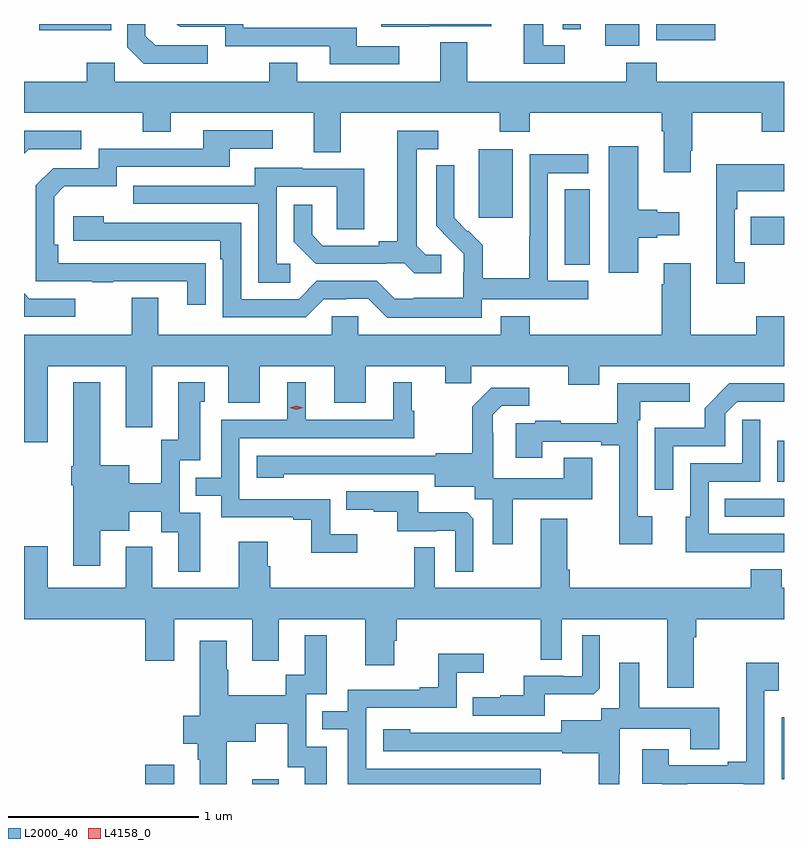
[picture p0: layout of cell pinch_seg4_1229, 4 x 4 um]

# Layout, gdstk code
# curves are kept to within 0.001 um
import gdstk
lib = gdstk.Library(unit=1e-6, precision=1e-09)
def R(c, l, rs):  # rectangles x0, y0, x1, y1
    for r in rs: c.add(gdstk.rectangle(r[:2], r[2:], *l))
def P(c, l, *ps):  # polygons
    for p in ps: c.add(gdstk.Polygon(p, *l))
L2000_40 = (2000, 40)
L4158_0 = (4158, 0)

pinch_seg4_1229 = lib.new_cell('pinch_seg4_1229')
R(pinch_seg4_1229, L2000_40, [(143.387,818.596,143.539,818.698), (143.951,818.596,144.091,818.62), (146.736,818.621,146.749,818.947), (146.437,820.002,146.749,820.098), (146.714,820.187,146.749,820.402), (145.595,821.329,145.726,821.726), (146.575,821.434,146.749,821.581), (145.142,821.577,145.321,821.938), (145.808,822.482,145.987,822.596), (146.076,822.511,146.386,822.596), (142.83,822.563,143.207,822.596), (145.584,822.568,145.68,822.596)])
P(pinch_seg4_1229, L2000_40, [(144.883,822.585),(145.207,822.585),(145.207,822.596),(144.629,822.596),(144.629,822.581),(144.883,822.581)],
  [(144.724,822.48),(144.499,822.48),(144.499,822.576),(143.904,822.576),(143.904,822.596),(143.554,822.596),(143.568,822.582),(143.808,822.582),(143.808,822.48),(144.359,822.48),(144.359,822.384),(144.724,822.384)],
  [(145.594,822.483),(145.483,822.483),(145.483,822.596),(145.379,822.596),(145.379,822.387),(145.594,822.387)],
  [(143.716,822.483),(143.439,822.483),(143.388,822.534),(143.388,822.596),(143.292,822.596),(143.292,822.474),(143.379,822.387),(143.716,822.387)],
  [(146.257,821.929),(146.265,821.929),(146.265,822.128),(146.632,822.128),(146.632,822.029),(146.749,822.029),(146.749,822.292),(146.078,822.292),(146.078,822.391),(145.918,822.391),(145.918,822.292),(145.081,822.292),(145.081,822.5),(144.941,822.5),(144.941,822.292),(144.187,822.292),(144.187,822.391),(144.04,822.391),(144.04,822.292),(143.226,822.292),(143.226,822.391),(143.08,822.391),(143.08,822.292),(142.749,822.292),(142.749,822.128),(143.374,822.128),(143.374,822.029),(143.521,822.029),(143.521,822.128),(144.275,822.128),(144.275,821.92),(144.415,821.92),(144.415,822.128),(145.252,822.128),(145.252,822.029),(145.412,822.029),(145.412,822.128),(146.105,822.128),(146.105,822.032),(146.117,822.032),(146.117,821.817),(146.257,821.817)],
  [(143.705,821.336),(142.928,821.337),(142.928,821.434),(142.908,821.434),(142.908,821.688),(142.961,821.741),(143.238,821.741),(143.238,821.844),(143.833,821.844),(143.833,821.94),(144.058,821.94),(144.058,822.036),(143.693,822.036),(143.693,821.94),(143.142,821.94),(143.142,821.838),(142.902,821.838),(142.812,821.748),(142.812,821.241),(143.107,821.241),(143.107,821.236),(143.219,821.236),(143.219,821.241),(143.609,821.241),(143.609,821.118),(143.705,821.118)],
  [(142.773,821.937),(143.05,821.937),(143.05,822.033),(142.749,822.033),(142.749,821.913)],
  [(144.946,821.382),(144.864,821.382),(144.817,821.429),(144.817,821.937),(144.928,821.937),(144.928,822.033),(144.713,822.033),(144.713,821.453),(144.617,821.453),(144.617,821.43),(144.322,821.43),(144.265,821.487),(144.265,821.644),(144.168,821.644),(144.168,821.45),(144.284,821.334),(144.656,821.334),(144.656,821.337),(144.75,821.337),(144.802,821.285),(144.946,821.285)],
  [(145.981,821.471),(146.081,821.471),(146.081,821.483),(146.197,821.483),(146.197,821.605),(146.081,821.605),(146.081,821.618),(145.981,821.618),(145.981,821.953),(145.826,821.953),(145.826,821.286),(145.981,821.286)],
  [(145.158,821.148),(145.72,821.148),(145.72,821.244),(145.506,821.244),(145.506,821.811),(145.72,821.811),(145.72,821.91),(145.41,821.91),(145.41,821.48),(145.408,821.48),(145.408,821.257),(145.163,821.257),(145.163,821.431),(145.086,821.508),(145.083,821.505),(145.013,821.576),(145.014,821.852),(144.918,821.852),(144.918,821.534),(145.064,821.386),(145.064,821.289),(145.062,821.289),(145.062,821.155),(144.799,821.155),(144.799,821.151),(144.699,821.151),(144.606,821.244),(144.291,821.244),(144.195,821.148),(143.892,821.148),(143.892,821.55),(143.168,821.55),(143.168,821.584),(143.007,821.584),(143.007,821.454),(143.783,821.454),(143.783,821.357),(143.796,821.357),(143.796,821.052),(144.231,821.052),(144.327,821.148),(144.446,821.148),(144.446,821.151),(144.561,821.151),(144.661,821.051),(145.158,821.051)],
  [(146.542,821.342),(146.49,821.342),(146.49,821.621),(146.503,821.621),(146.503,821.717),(146.749,821.717),(146.749,821.857),(146.393,821.857),(146.393,821.229),(146.542,821.229)],
  [(144.151,821.334),(144.078,821.334),(144.078,821.739),(144.396,821.739),(144.396,821.515),(144.541,821.515),(144.541,821.835),(144.217,821.835),(144.217,821.839),(143.963,821.839),(143.963,821.745),(143.323,821.745),(143.323,821.649),(143.982,821.649),(143.982,821.233),(144.151,821.233)],
  [(145.613,820.697),(145.777,820.697),(145.777,820.796),(146.749,820.796),(146.749,821.059),(146.602,821.059),(146.602,820.96),(146.257,820.96),(146.257,821.338),(146.117,821.338),(146.117,821.225),(146.105,821.225),(146.105,820.96),(145.412,820.96),(145.412,821.059),(145.259,821.059),(145.259,820.96),(144.507,820.96),(144.507,821.058),(144.369,821.058),(144.369,820.96),(143.455,820.96),(143.455,821.155),(143.315,821.155),(143.315,820.96),(142.749,820.96),(142.749,820.395),(142.873,820.395),(142.873,820.796),(143.285,820.796),(143.285,820.473),(143.425,820.473),(143.425,820.796),(143.825,820.796),(143.825,820.602),(143.989,820.602),(143.989,820.796),(144.383,820.796),(144.383,820.602),(144.547,820.602),(144.547,820.796),(144.965,820.796),(144.965,820.706),(145.103,820.706),(145.103,820.796),(145.613,820.796)],
  [(143.02,821.151),(142.776,821.151),(142.749,821.178),(142.749,821.055),(143.02,821.055)],
  [(143.677,820.023),(143.568,820.023),(143.568,820.299),(143.677,820.299),(143.677,820.608),(143.701,820.608),(143.701,820.711),(143.561,820.711),(143.561,820.407),(143.472,820.407),(143.472,820.18),(143.302,820.18),(143.302,820.273),(143.149,820.273),(143.149,820.711),(143.009,820.711),(143.009,820.269),(142.997,820.269),(142.997,820.169),(143.009,820.169),(143.009,819.744),(143.149,819.744),(143.149,819.929),(143.302,819.929),(143.302,820.028),(143.471,820.028),(143.471,819.922),(143.561,819.922),(143.561,819.714),(143.677,819.714)],
  [(144.502,819.91),(144.36,819.91),(144.36,820.095),(143.883,820.095),(143.883,820.416),(144.802,820.416),(144.802,820.56),(144.79,820.56),(144.79,820.711),(144.692,820.711),(144.692,820.512),(144.232,820.512),(144.232,820.711),(144.134,820.711),(144.134,820.512),(143.787,820.512),(143.787,820.209),(143.653,820.209),(143.653,820.113),(143.787,820.113),(143.787,819.999),(144.167,819.999),(144.167,819.987),(144.262,819.987),(144.262,819.812),(144.502,819.812)],
  [(146.056,820.006),(145.98,820.006),(145.98,820.511),(145.993,820.511),(145.993,820.607),(146.254,820.607),(146.254,820.704),(145.872,820.704),(145.872,820.496),(145.573,820.496),(145.573,820.507),(145.441,820.507),(145.441,820.494),(145.337,820.494),(145.337,820.314),(145.477,820.314),(145.477,820.398),(145.787,820.398),(145.787,820.38),(145.883,820.38),(145.883,819.858),(146.056,819.858)],
  [(146.166,820.374),(146.439,820.374),(146.439,820.545),(146.502,820.608),(146.749,820.607),(146.749,820.704),(146.462,820.704),(146.332,820.574),(146.332,820.471),(146.07,820.471),(146.07,820.146),(146.166,820.146)],
  [(145.321,820.094),(145.741,820.094),(145.741,820.313),(145.589,820.313),(145.589,820.204),(145.218,820.204),(145.218,820.445),(145.216,820.445),(145.216,820.54),(145.263,820.587),(145.408,820.587),(145.408,820.681),(145.207,820.681),(145.107,820.581),(145.107,820.336),(144.915,820.336),(144.915,820.323),(143.973,820.323),(143.973,820.208),(144.117,820.208),(144.117,820.226),(144.911,820.227),(144.911,820.16),(145.122,820.16),(145.122,820.096),(145.217,820.096),(145.217,819.858),(145.321,819.858)],
  [(146.449,819.816),(146.749,819.816),(146.749,819.912),(146.352,819.912),(146.352,820.188),(146.625,820.188),(146.625,820.513),(146.529,820.513),(146.529,820.284),(146.256,820.284),(146.256,820.002),(146.231,820.002),(146.231,819.815),(146.449,819.815)],
  [(145.113,819.993),(145.081,820.025),(144.823,820.025),(144.823,820.137),(144.445,820.137),(144.445,820.04),(144.589,820.04),(144.589,820.029),(144.713,820.029),(144.713,819.927),(144.92,819.927),(144.92,819.93),(145.02,819.93),(145.02,819.713),(145.113,819.713)],
  [(143.285,819.844),(143.285,819.628),(142.873,819.628),(142.873,819.847),(142.749,819.847),(142.749,819.464),(143.387,819.464),(143.387,819.246),(143.539,819.246),(143.539,819.464),(143.951,819.464),(143.951,819.246),(144.091,819.246),(144.091,819.464),(144.545,819.464),(144.545,819.222),(144.697,819.222),(144.697,819.351),(144.71,819.351),(144.71,819.464),(145.47,819.464),(145.47,819.25),(145.578,819.25),(145.578,819.464),(146.135,819.464),(146.135,819.102),(146.275,819.102),(146.275,819.368),(146.288,819.368),(146.288,819.464),(146.749,819.464),(146.749,819.628),(146.737,819.628),(146.737,819.727),(146.573,819.727),(146.573,819.628),(145.622,819.628),(145.622,819.724),(145.609,819.724),(145.609,819.991),(145.469,819.991),(145.469,819.628),(144.912,819.628),(144.912,819.842),(144.804,819.842),(144.804,819.628),(144.044,819.628),(144.044,819.741),(144.031,819.741),(144.031,819.871),(143.879,819.871),(143.879,819.628),(143.425,819.628),(143.425,819.844)],
  [(143.815,818.819),(143.968,818.819),(143.968,818.912),(144.138,818.912),(144.138,818.685),(144.227,818.685),(144.227,818.596),(144.343,818.596),(144.343,818.793),(144.234,818.793),(144.234,819.069),(144.343,819.069),(144.343,819.379),(144.227,819.379),(144.227,819.17),(144.126,819.17),(144.126,819.064),(143.823,819.064),(143.823,819.198),(143.815,819.198),(143.815,819.349),(143.675,819.349),(143.675,818.954),(143.588,818.954),(143.588,818.807),(143.663,818.807),(143.663,818.723),(143.675,818.723),(143.675,818.596),(143.815,818.596)],
  [(145.489,819.068),(145.747,819.068),(145.779,819.099),(145.779,819.379),(145.686,819.379),(145.686,819.162),(145.586,819.162),(145.586,819.165),(145.379,819.165),(145.379,819.064),(145.255,819.064),(145.255,819.052),(145.111,819.052),(145.111,818.955),(145.489,818.955)],
  [(145.468,818.676),(144.549,818.676),(144.549,818.997),(145.026,818.997),(145.026,819.182),(145.168,819.182),(145.168,819.281),(144.928,819.281),(144.928,819.106),(144.833,819.106),(144.833,819.093),(144.453,819.093),(144.453,818.979),(144.319,818.979),(144.319,818.883),(144.453,818.883),(144.453,818.596),(145.468,818.596)],
  [(145.882,818.647),(145.884,818.647),(145.884,818.888),(146.255,818.888),(146.255,818.779),(146.407,818.779),(146.407,818.998),(145.987,818.998),(145.987,819.235),(145.883,819.235),(145.883,818.996),(145.788,818.996),(145.788,818.932),(145.577,818.932),(145.577,818.865),(145.019,818.865),(145.019,818.866),(144.783,818.866),(144.783,818.884),(144.639,818.884),(144.639,818.769),(145.581,818.769),(145.581,818.757),(145.773,818.757),(145.773,818.596),(145.882,818.596)],
  [(146.239,818.597),(146.538,818.597),(146.538,818.596),(146.646,818.596),(146.646,819.086),(146.722,819.086),(146.722,819.235),(146.549,819.235),(146.549,818.713),(146.453,818.713),(146.453,818.694),(146.143,818.694),(146.143,818.779),(146.003,818.779),(146.003,818.598),(146.107,818.598),(146.107,818.596),(146.239,818.596)])
P(pinch_seg4_1229, L4158_0, [(144.183,820.567),(144.147,820.577),(144.147,820.577),(144.147,820.577),(144.183,820.587),(144.219,820.577),(144.219,820.577),(144.219,820.577)])

lib.write_gds('pinch_seg4_1229.gds')
